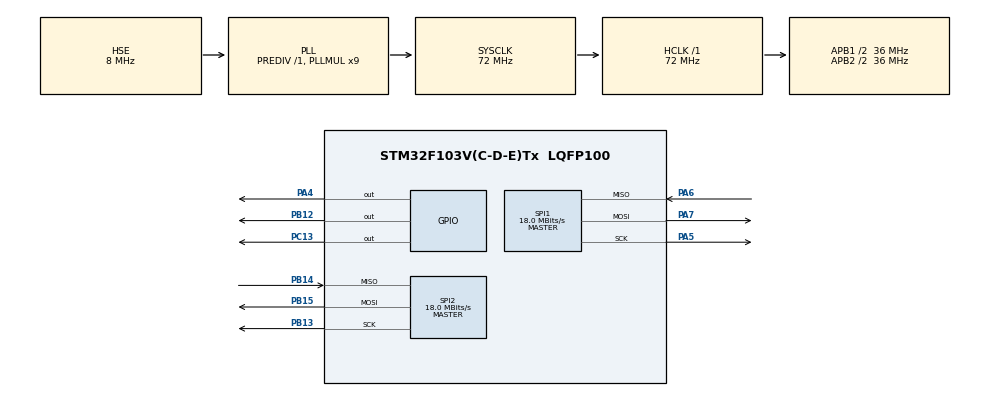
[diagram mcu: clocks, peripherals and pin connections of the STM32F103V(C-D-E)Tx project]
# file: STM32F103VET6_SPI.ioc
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Dma.Request0=SPI1_TX
Dma.Request1=SPI1_RX
Dma.Request2=SPI2_RX
Dma.Request3=SPI2_TX
Dma.SPI1_RX.1.Direction=DMA_PERIPH_TO_MEMORY
Dma.SPI1_RX.1.Instance=DMA1_Channel2
Dma.SPI1_RX.1.MemDataAlignment=DMA_MDATAALIGN_BYTE
Dma.SPI1_RX.1.MemInc=DMA_MINC_ENABLE
Dma.SPI1_RX.1.Mode=DMA_CIRCULAR
Dma.SPI1_RX.1.PeriphDataAlignment=DMA_PDATAALIGN_BYTE
Dma.SPI1_RX.1.PeriphInc=DMA_PINC_DISABLE
Dma.SPI1_RX.1.Priority=DMA_PRIORITY_LOW
Dma.SPI1_TX.0.Direction=DMA_MEMORY_TO_PERIPH
Dma.SPI1_TX.0.Instance=DMA1_Channel3
Dma.SPI1_TX.0.MemDataAlignment=DMA_MDATAALIGN_BYTE
Dma.SPI1_TX.0.MemInc=DMA_MINC_ENABLE
Dma.SPI1_TX.0.Mode=DMA_CIRCULAR
Dma.SPI1_TX.0.PeriphDataAlignment=DMA_PDATAALIGN_BYTE
Dma.SPI1_TX.0.PeriphInc=DMA_PINC_DISABLE
Dma.SPI1_TX.0.Priority=DMA_PRIORITY_LOW
Dma.SPI2_RX.2.Direction=DMA_PERIPH_TO_MEMORY
Dma.SPI2_RX.2.Instance=DMA1_Channel4
Dma.SPI2_RX.2.MemDataAlignment=DMA_MDATAALIGN_BYTE
Dma.SPI2_RX.2.MemInc=DMA_MINC_ENABLE
Dma.SPI2_RX.2.Mode=DMA_CIRCULAR
Dma.SPI2_RX.2.PeriphDataAlignment=DMA_PDATAALIGN_BYTE
Dma.SPI2_RX.2.PeriphInc=DMA_PINC_DISABLE
Dma.SPI2_RX.2.Priority=DMA_PRIORITY_LOW
Dma.SPI2_TX.3.Direction=DMA_MEMORY_TO_PERIPH
Dma.SPI2_TX.3.Instance=DMA1_Channel5
Dma.SPI2_TX.3.MemDataAlignment=DMA_MDATAALIGN_BYTE
Dma.SPI2_TX.3.MemInc=DMA_MINC_ENABLE
Dma.SPI2_TX.3.Mode=DMA_CIRCULAR
Dma.SPI2_TX.3.PeriphDataAlignment=DMA_PDATAALIGN_BYTE
Dma.SPI2_TX.3.PeriphInc=DMA_PINC_DISABLE
Dma.SPI2_TX.3.Priority=DMA_PRIORITY_LOW
Mcu.Family=STM32F1
Mcu.Name=STM32F103V(C-D-E)Tx
Mcu.Package=LQFP100
NVIC.DMA1_Channel2_IRQn=true\:0\:0\:false\:false\:true
NVIC.DMA1_Channel3_IRQn=true\:0\:0\:false\:false\:true
NVIC.DMA1_Channel4_IRQn=true\:0\:0\:false\:false\:true
NVIC.DMA1_Channel5_IRQn=true\:0\:0\:false\:false\:true
NVIC.PriorityGroup=NVIC_PRIORITYGROUP_4
NVIC.SPI1_IRQn=true\:0\:0\:false\:false\:true
NVIC.SPI2_IRQn=true\:0\:0\:false\:false\:true
OSC_IN.Mode=HSE-External-Oscillator
OSC_IN.Signal=RCC_OSC_IN
OSC_OUT.Mode=HSE-External-Oscillator
OSC_OUT.Signal=RCC_OSC_OUT
PA13.Mode=Serial_Wire
PA13.Signal=SYS_JTMS-SWDIO
PA14.Mode=Serial_Wire
PA14.Signal=SYS_JTCK-SWCLK
PA4.GPIO_ModeDefaultOutputPP=GPIO_MODE_OUTPUT_PP
PA4.GPIO_Speed=GPIO_SPEED_FREQ_HIGH
PA4.PinState=GPIO_PIN_SET
PA4.Signal=GPIO_Output
PA5.Mode=Full_Duplex_Master
PA5.Signal=SPI1_SCK
PA6.Mode=Full_Duplex_Master
PA6.Signal=SPI1_MISO
PA7.Mode=Full_Duplex_Master
PA7.Signal=SPI1_MOSI
PB12.GPIO_ModeDefaultOutputPP=GPIO_MODE_OUTPUT_PP
PB12.GPIO_Speed=GPIO_SPEED_FREQ_HIGH
PB12.PinState=GPIO_PIN_SET
PB12.Signal=GPIO_Output
PB13.Mode=Full_Duplex_Master
PB13.Signal=SPI2_SCK
PB14.Mode=Full_Duplex_Master
PB14.Signal=SPI2_MISO
PB15.Mode=Full_Duplex_Master
PB15.Signal=SPI2_MOSI
PC13-TAMPER-RTC.GPIO_ModeDefaultOutputPP=GPIO_MODE_OUTPUT_PP
PC13-TAMPER-RTC.GPIO_Speed=GPIO_SPEED_FREQ_HIGH
PC13-TAMPER-RTC.PinState=GPIO_PIN_SET
PC13-TAMPER-RTC.Signal=GPIO_Output
ProjectManager.HeapSize=0x200
ProjectManager.StackSize=0x400
ProjectManager.TargetToolchain=MDK-ARM V5
RCC.AHBFreq_Value=72000000
RCC.APB1CLKDivider=RCC_HCLK_DIV2
RCC.APB1Freq_Value=36000000
RCC.APB1TimFreq_Value=72000000
RCC.APB2CLKDivider=RCC_HCLK_DIV2
RCC.APB2Freq_Value=36000000
RCC.APB2TimFreq_Value=72000000
RCC.HCLKFreq_Value=72000000
RCC.HSIState=RCC_HSI_ON
RCC.PLLMUL=RCC_PLL_MUL9
RCC.PLLSourceVirtual=RCC_PLLSOURCE_HSE
RCC.SYSCLKFreq_VALUE=72000000
RCC.SYSCLKSource=RCC_SYSCLKSOURCE_PLLCLK
RCC.USBFreq_Value=72000000
SPI1.BaudRatePrescaler=SPI_BAUDRATEPRESCALER_2
SPI1.CalculateBaudRate=18.0 MBits/s
SPI1.Mode=SPI_MODE_MASTER
SPI2.CalculateBaudRate=18.0 MBits/s
SPI2.Mode=SPI_MODE_MASTER
board=STM32F103VET6_SPI

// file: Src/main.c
/**
  ******************************************************************************
  * File Name          : main.c
  * Description        : Main program body
  ******************************************************************************
  *
  * COPYRIGHT(c) 2016 STMicroelectronics
  *
  * Redistribution and use in source and binary forms, with or without modification,
  * are permitted provided that the following conditions are met:
  *   1. Redistributions of source code must retain the above copyright notice,
  *      this list of conditions and the following disclaimer.
  *   2. Redistributions in binary form must reproduce the above copyright notice,
  *      this list of conditions and the following disclaimer in the documentation
  *      and/or other materials provided with the distribution.
  *   3. Neither the name of STMicroelectronics nor the names of its contributors
  *      may be used to endorse or promote products derived from this software
  *      without specific prior written permission.
  *
  * THIS SOFTWARE IS PROVIDED BY THE COPYRIGHT HOLDERS AND CONTRIBUTORS "AS IS"
  * AND ANY EXPRESS OR IMPLIED WARRANTIES, INCLUDING, BUT NOT LIMITED TO, THE
  * IMPLIED WARRANTIES OF MERCHANTABILITY AND FITNESS FOR A PARTICULAR PURPOSE ARE
  * DISCLAIMED. IN NO EVENT SHALL THE COPYRIGHT HOLDER OR CONTRIBUTORS BE LIABLE
  * FOR ANY DIRECT, INDIRECT, INCIDENTAL, SPECIAL, EXEMPLARY, OR CONSEQUENTIAL
  * DAMAGES (INCLUDING, BUT NOT LIMITED TO, PROCUREMENT OF SUBSTITUTE GOODS OR
  * SERVICES; LOSS OF USE, DATA, OR PROFITS; OR BUSINESS INTERRUPTION) HOWEVER
  * CAUSED AND ON ANY THEORY OF LIABILITY, WHETHER IN CONTRACT, STRICT LIABILITY,
  * OR TORT (INCLUDING NEGLIGENCE OR OTHERWISE) ARISING IN ANY WAY OUT OF THE USE
  * OF THIS SOFTWARE, EVEN IF ADVISED OF THE POSSIBILITY OF SUCH DAMAGE.
  *
  ******************************************************************************
  */
#include "main.h"
#include "stm32f1xx_hal.h"

SPI_HandleTypeDef hspi1;
SPI_HandleTypeDef hspi2;
DMA_HandleTypeDef hdma_spi1_tx;
DMA_HandleTypeDef hdma_spi1_rx;
DMA_HandleTypeDef hdma_spi2_rx;
DMA_HandleTypeDef hdma_spi2_tx;

/* USER CODE BEGIN PV */
/* Private variables ---------------------------------------------------------*/

/* USER CODE END PV */

void SystemClock_Config(void);
void Error_Handler(void);
static void MX_GPIO_Init(void);
static void MX_DMA_Init(void);
static void MX_SPI1_Init(void);
static void MX_SPI2_Init(void);

/* USER CODE BEGIN PFP */
/* Private function prototypes -----------------------------------------------*/

/* USER CODE END PFP */

/* USER CODE BEGIN 0 */
#define SPI1_Enable		HAL_GPIO_WritePin(GPIOA, GPIO_PIN_4, GPIO_PIN_RESET)
#define SPI1_Disable 	HAL_GPIO_WritePin(GPIOA, GPIO_PIN_4, GPIO_PIN_SET)

#define SPI2_Enable		HAL_GPIO_WritePin(GPIOB, GPIO_PIN_12, GPIO_PIN_RESET)
#define SPI2_Disable 	HAL_GPIO_WritePin(GPIOB, GPIO_PIN_12, GPIO_PIN_SET)

uint8_t RX_Data[64], RX_Buffer[64], TX_Data[64], RX_Index=0, mystring[]="Electronic4U \r";

void HAL_SPI_TxCpltCallback(SPI_HandleTypeDef *hspi)
{
	if(hspi->Instance==hspi2.Instance)
	{
		if (RX_Buffer[0] != 10)
			{
				RX_Data[RX_Index++] = RX_Buffer[0];
			}
		else if(RX_Buffer[0] == 10)
			{
				RX_Index=0;
				SPI2_Disable;
			}
		HAL_SPI_Receive_IT(&hspi2, (uint8_t *)RX_Buffer,1);
	}
	if(hspi->Instance==hspi1.Instance)
	{
		if(RX_Buffer[0] == 10)
			{
				SPI1_Disable;
			}
		HAL_SPI_Receive_IT(&hspi2, (uint8_t *)RX_Buffer,1);
	}
}
/* USER CODE END 0 */

int main(void)
{

  /* MCU Configuration----------------------------------------------------------*/

  /* Reset of all peripherals, Initializes the Flash interface and the Systick. */
  HAL_Init();

  /* Configure the system clock */
  SystemClock_Config();

  /* Initialize all configured peripherals */
  MX_GPIO_Init();
  MX_DMA_Init();
  MX_SPI1_Init();
  MX_SPI2_Init();

  /* USER CODE BEGIN 2 */
	HAL_SPI_Receive_IT(&hspi2, (uint8_t *)RX_Buffer,1);

  /* USER CODE END 2 */

  /* Infinite loop */
  while (1)
  {

  /* USER CODE BEGIN 3 */
		SPI1_Enable;
		HAL_SPI_Transmit_IT(&hspi1, (uint8_t *)TX_Data,1);
		HAL_Delay(1000);

  }
  /* USER CODE END 3 */

}

/** System Clock Configuration
*/
void SystemClock_Config(void)
{

  RCC_OscInitTypeDef RCC_OscInitStruct;
  RCC_ClkInitTypeDef RCC_ClkInitStruct;

    /**Initializes the CPU, AHB and APB busses clocks
    */
  RCC_OscInitStruct.OscillatorType = RCC_OSCILLATORTYPE_HSE;
  RCC_OscInitStruct.HSEState = RCC_HSE_ON;
  RCC_OscInitStruct.HSEPredivValue = RCC_HSE_PREDIV_DIV1;
  RCC_OscInitStruct.HSIState = RCC_HSI_ON;
  RCC_OscInitStruct.PLL.PLLState = RCC_PLL_ON;
  RCC_OscInitStruct.PLL.PLLSource = RCC_PLLSOURCE_HSE;
  RCC_OscInitStruct.PLL.PLLMUL = RCC_PLL_MUL9;
  if (HAL_RCC_OscConfig(&RCC_OscInitStruct) != HAL_OK)
  {
    Error_Handler();
  }

    /**Initializes the CPU, AHB and APB busses clocks
    */
  RCC_ClkInitStruct.ClockType = RCC_CLOCKTYPE_HCLK|RCC_CLOCKTYPE_SYSCLK
                              |RCC_CLOCKTYPE_PCLK1|RCC_CLOCKTYPE_PCLK2;
  RCC_ClkInitStruct.SYSCLKSource = RCC_SYSCLKSOURCE_PLLCLK;
  RCC_ClkInitStruct.AHBCLKDivider = RCC_SYSCLK_DIV1;
  RCC_ClkInitStruct.APB1CLKDivider = RCC_HCLK_DIV2;
  RCC_ClkInitStruct.APB2CLKDivider = RCC_HCLK_DIV2;

  if (HAL_RCC_ClockConfig(&RCC_ClkInitStruct, FLASH_LATENCY_2) != HAL_OK)
  {
    Error_Handler();
  }

    /**Configure the Systick interrupt time
    */
  HAL_SYSTICK_Config(HAL_RCC_GetHCLKFreq()/1000);

    /**Configure the Systick
    */
  HAL_SYSTICK_CLKSourceConfig(SYSTICK_CLKSOURCE_HCLK);

  /* SysTick_IRQn interrupt configuration */
  HAL_NVIC_SetPriority(SysTick_IRQn, 0, 0);
}

/* SPI1 init function */
static void MX_SPI1_Init(void)
{

  hspi1.Instance = SPI1;
  hspi1.Init.Mode = SPI_MODE_MASTER;
  hspi1.Init.Direction = SPI_DIRECTION_2LINES;
  hspi1.Init.DataSize = SPI_DATASIZE_8BIT;
  hspi1.Init.CLKPolarity = SPI_POLARITY_LOW;
  hspi1.Init.CLKPhase = SPI_PHASE_1EDGE;
  hspi1.Init.NSS = SPI_NSS_SOFT;
  hspi1.Init.BaudRatePrescaler = SPI_BAUDRATEPRESCALER_2;
  hspi1.Init.FirstBit = SPI_FIRSTBIT_MSB;
  hspi1.Init.TIMode = SPI_TIMODE_DISABLE;
  hspi1.Init.CRCCalculation = SPI_CRCCALCULATION_DISABLE;
  hspi1.Init.CRCPolynomial = 10;
  if (HAL_SPI_Init(&hspi1) != HAL_OK)
  {
    Error_Handler();
  }

}

/* SPI2 init function */
static void MX_SPI2_Init(void)
{

  hspi2.Instance = SPI2;
  hspi2.Init.Mode = SPI_MODE_MASTER;
  hspi2.Init.Direction = SPI_DIRECTION_2LINES;
  hspi2.Init.DataSize = SPI_DATASIZE_8BIT;
  hspi2.Init.CLKPolarity = SPI_POLARITY_LOW;
  hspi2.Init.CLKPhase = SPI_PHASE_1EDGE;
  hspi2.Init.NSS = SPI_NSS_SOFT;
  hspi2.Init.BaudRatePrescaler = SPI_BAUDRATEPRESCALER_2;
  hspi2.Init.FirstBit = SPI_FIRSTBIT_MSB;
  hspi2.Init.TIMode = SPI_TIMODE_DISABLE;
  hspi2.Init.CRCCalculation = SPI_CRCCALCULATION_DISABLE;
  hspi2.Init.CRCPolynomial = 10;
  if (HAL_SPI_Init(&hspi2) != HAL_OK)
  {
    Error_Handler();
  }

}

static void MX_DMA_Init(void)
{
  /* DMA controller clock enable */
  __HAL_RCC_DMA1_CLK_ENABLE();

  /* DMA interrupt init */
  /* DMA1_Channel2_IRQn interrupt configuration */
  HAL_NVIC_SetPriority(DMA1_Channel2_IRQn, 0, 0);
  HAL_NVIC_EnableIRQ(DMA1_Channel2_IRQn);
  /* DMA1_Channel3_IRQn interrupt configuration */
  HAL_NVIC_SetPriority(DMA1_Channel3_IRQn, 0, 0);
  HAL_NVIC_EnableIRQ(DMA1_Channel3_IRQn);
  /* DMA1_Channel4_IRQn interrupt configuration */
  HAL_NVIC_SetPriority(DMA1_Channel4_IRQn, 0, 0);
  HAL_NVIC_EnableIRQ(DMA1_Channel4_IRQn);
  /* DMA1_Channel5_IRQn interrupt configuration */
  HAL_NVIC_SetPriority(DMA1_Channel5_IRQn, 0, 0);
  HAL_NVIC_EnableIRQ(DMA1_Channel5_IRQn);

}

/** Configure pins as
        * Analog
        * Input
        * Output
        * EVENT_OUT
        * EXTI
*/
static void MX_GPIO_Init(void)
{

  GPIO_InitTypeDef GPIO_InitStruct;

  /* GPIO Ports Clock Enable */
  __HAL_RCC_GPIOC_CLK_ENABLE();
  __HAL_RCC_GPIOA_CLK_ENABLE();
  __HAL_RCC_GPIOB_CLK_ENABLE();

  /*Configure GPIO pin Output Level */
  HAL_GPIO_WritePin(GPIOC, GPIO_PIN_13, GPIO_PIN_SET);

  /*Configure GPIO pin Output Level */
  HAL_GPIO_WritePin(GPIOA, GPIO_PIN_4, GPIO_PIN_SET);

  /*Configure GPIO pin Output Level */
  HAL_GPIO_WritePin(GPIOB, GPIO_PIN_12, GPIO_PIN_SET);

  /*Configure GPIO pin : PC13 */
  GPIO_InitStruct.Pin = GPIO_PIN_13;
  GPIO_InitStruct.Mode = GPIO_MODE_OUTPUT_PP;
  GPIO_InitStruct.Speed = GPIO_SPEED_FREQ_HIGH;
  HAL_GPIO_Init(GPIOC, &GPIO_InitStruct);

  /*Configure GPIO pin : PA4 */
  GPIO_InitStruct.Pin = GPIO_PIN_4;
  GPIO_InitStruct.Mode = GPIO_MODE_OUTPUT_PP;
  GPIO_InitStruct.Speed = GPIO_SPEED_FREQ_HIGH;
  HAL_GPIO_Init(GPIOA, &GPIO_InitStruct);

  /*Configure GPIO pin : PB12 */
  GPIO_InitStruct.Pin = GPIO_PIN_12;
  GPIO_InitStruct.Mode = GPIO_MODE_OUTPUT_PP;
  GPIO_InitStruct.Speed = GPIO_SPEED_FREQ_HIGH;
  HAL_GPIO_Init(GPIOB, &GPIO_InitStruct);

}

void Error_Handler(void)
{
  while(1)
  {
  }
}

/************************ (C) COPYRIGHT STMicroelectronics *****END OF FILE****/
